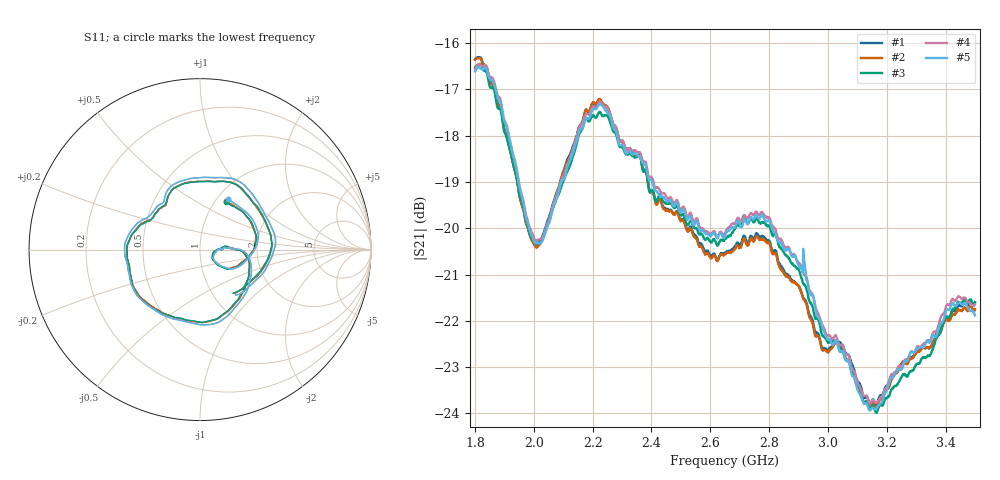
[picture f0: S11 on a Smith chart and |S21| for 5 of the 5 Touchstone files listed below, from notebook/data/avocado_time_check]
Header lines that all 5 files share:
! Created with skrf 1.9.0 (http://scikit-rf.org).
# Hz S RI R 50.0
!freq ReS11 ImS11 ReS21 ImS21 ReS12 ImS12 ReS22 ImS22
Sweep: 1.8 GHz to 3.5 GHz
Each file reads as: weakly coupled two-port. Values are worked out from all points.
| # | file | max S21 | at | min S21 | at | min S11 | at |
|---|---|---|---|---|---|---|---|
| 1 | A08_D01_B2_O120_corrected.s2p | -16.31 dB | 1.814 GHz | -23.8 dB | 3.163 GHz | -22.0 dB | 2.093 GHz |
| 2 | A08_D02_B2_O120_corrected.s2p | -16.32 dB | 1.81 GHz | -23.9 dB | 3.164 GHz | -22.1 dB | 2.092 GHz |
| 3 | A08_D04_B2_O240_corrected.s2p | -16.45 dB | 1.817 GHz | -24.0 dB | 3.165 GHz | -22.2 dB | 2.092 GHz |
| 4 | A08_D07_B2_O120_corrected.s2p | -16.46 dB | 1.816 GHz | -23.8 dB | 3.143 GHz | -21.3 dB | 2.09 GHz |
| 5 | A08_D08_B2_O240_corrected.s2p | -16.52 dB | 1.812 GHz | -23.9 dB | 3.142 GHz | -21.2 dB | 2.089 GHz |
